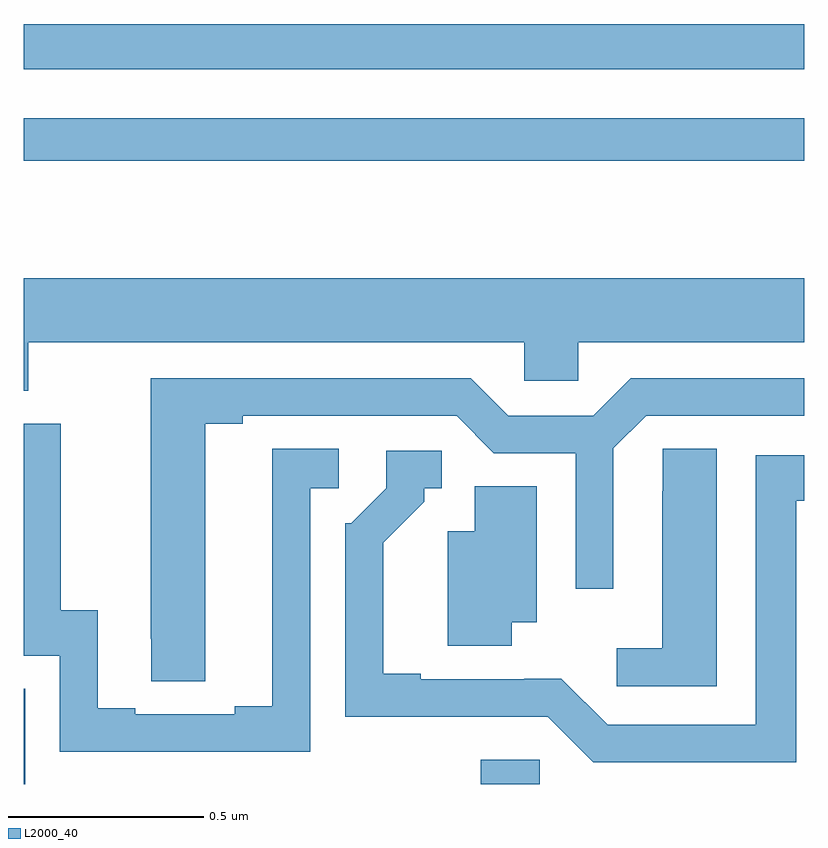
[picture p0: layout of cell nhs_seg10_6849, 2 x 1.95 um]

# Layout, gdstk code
import gdstk
lib = gdstk.Library(unit=1e-6, precision=1e-09)
def R(c, l, rs):  # rectangles x0, y0, x1, y1
    for r in rs: c.add(gdstk.rectangle(r[:2], r[2:], *l))
def P(c, l, *ps):  # polygons
    for p in ps: c.add(gdstk.Polygon(p, *l))
L2000_40 = (2000, 40)

nhs_seg10_6849 = lib.new_cell('nhs_seg10_6849')
R(nhs_seg10_6849, L2000_40, [(196,1316.5,196.003,1316.744), (197.171,1316.5,197.322,1316.562), (196,1318.098,198,1318.206), (196,1318.332,198,1318.448)])
P(nhs_seg10_6849, L2000_40, [(196.011,1317.632),(197.283,1317.632),(197.283,1317.534),(197.421,1317.534),(197.421,1317.632),(198,1317.632),(198,1317.796),(196,1317.796),(196,1317.508),(196.011,1317.508)],
  [(196.465,1317.424),(196.561,1317.424),(196.561,1317.444),(197.109,1317.444),(197.205,1317.348),(197.415,1317.348),(197.415,1317),(197.511,1317),(197.511,1317.36),(197.595,1317.444),(198,1317.444),(198,1317.54),(197.555,1317.54),(197.459,1317.444),(197.241,1317.444),(197.145,1317.54),(196.325,1317.54),(196.325,1316.872),(196.326,1316.872),(196.326,1316.764),(196.465,1316.764)],
  [(196.734,1317.258),(196.807,1317.258),(196.807,1317.359),(196.637,1317.359),(196.637,1316.699),(196.541,1316.699),(196.541,1316.679),(196.285,1316.679),(196.285,1316.694),(196.189,1316.694),(196.189,1316.945),(196.095,1316.945),(196.095,1317.423),(196,1317.423),(196,1316.829),(196.092,1316.829),(196.092,1316.583),(196.734,1316.583)],
  [(197.776,1317.359),(197.637,1317.359),(197.637,1317.251),(197.636,1317.251),(197.636,1316.848),(197.52,1316.848),(197.52,1316.751),(197.776,1316.751)],
  [(197.98,1317.226),(198,1317.226),(198,1317.342),(197.876,1317.342),(197.876,1316.652),(197.496,1316.652),(197.378,1316.77),(197.282,1316.77),(197.282,1316.769),(197.017,1316.769),(197.017,1316.782),(196.921,1316.782),(196.921,1317.118),(197.026,1317.223),(197.026,1317.258),(197.071,1317.258),(197.071,1317.354),(196.929,1317.354),(196.929,1317.258),(196.839,1317.168),(196.824,1317.168),(196.824,1316.672),(197.087,1316.672),(197.087,1316.673),(197.343,1316.673),(197.46,1316.556),(197.98,1316.556)],
  [(197.251,1316.915),(197.314,1316.915),(197.314,1317.263),(197.156,1317.263),(197.156,1317.148),(197.087,1317.148),(197.087,1316.854),(197.251,1316.854)])

lib.write_gds('nhs_seg10_6849.gds')
